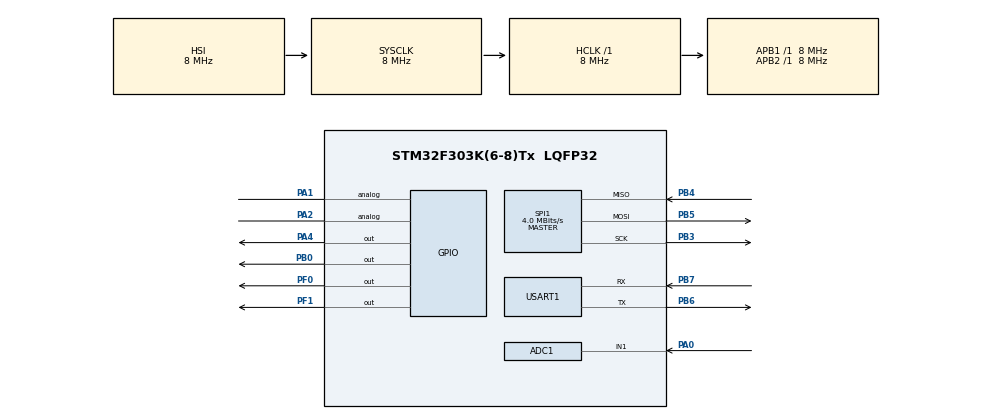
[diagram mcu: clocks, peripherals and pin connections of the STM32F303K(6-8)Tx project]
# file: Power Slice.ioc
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ADC1.Channel-4\#ChannelRegularConversion=ADC_CHANNEL_1
ADC1.Channel-5\#ChannelRegularConversion=ADC_CHANNEL_1
ADC1.EOCSelection=ADC_EOC_SEQ_CONV
ADC1.NbrOfConversion=3
ADC1.NbrOfConversionFlag=1
ADC1.Offset-4\#ChannelRegularConversion=0
ADC1.Offset-5\#ChannelRegularConversion=0
ADC1.OffsetNumber-4\#ChannelRegularConversion=ADC_OFFSET_NONE
ADC1.OffsetNumber-5\#ChannelRegularConversion=ADC_OFFSET_NONE
ADC1.Rank-4\#ChannelRegularConversion=2
ADC1.Rank-5\#ChannelRegularConversion=3
ADC1.SamplingTime-1\#ChannelRegularConversion=ADC_SAMPLETIME_19CYCLES_5
ADC1.SamplingTime-4\#ChannelRegularConversion=ADC_SAMPLETIME_19CYCLES_5
ADC1.SamplingTime-5\#ChannelRegularConversion=ADC_SAMPLETIME_19CYCLES_5
ADC1.SubFamily=STM32F303x8
ADC1.master=1
Dma.ADC1.0.Direction=DMA_PERIPH_TO_MEMORY
Dma.ADC1.0.Instance=DMA1_Channel1
Dma.ADC1.0.MemDataAlignment=DMA_MDATAALIGN_HALFWORD
Dma.ADC1.0.MemInc=DMA_MINC_ENABLE
Dma.ADC1.0.Mode=DMA_NORMAL
Dma.ADC1.0.PeriphDataAlignment=DMA_PDATAALIGN_HALFWORD
Dma.ADC1.0.PeriphInc=DMA_PINC_DISABLE
Dma.ADC1.0.Priority=DMA_PRIORITY_LOW
Dma.Request0=ADC1
Dma.Request1=USART1_RX
Dma.USART1_RX.1.Direction=DMA_PERIPH_TO_MEMORY
Dma.USART1_RX.1.Instance=DMA1_Channel5
Dma.USART1_RX.1.MemDataAlignment=DMA_MDATAALIGN_BYTE
Dma.USART1_RX.1.MemInc=DMA_MINC_ENABLE
Dma.USART1_RX.1.Mode=DMA_NORMAL
Dma.USART1_RX.1.PeriphDataAlignment=DMA_PDATAALIGN_BYTE
Dma.USART1_RX.1.PeriphInc=DMA_PINC_DISABLE
Dma.USART1_RX.1.Priority=DMA_PRIORITY_LOW
Mcu.Family=STM32F3
Mcu.Name=STM32F303K(6-8)Tx
Mcu.Package=LQFP32
NVIC.DMA1_Channel1_IRQn=true\:0\:0\:false\:false\:true\:false\:true\:true
NVIC.DMA1_Channel5_IRQn=true\:0\:0\:false\:false\:true\:false\:true\:true
NVIC.PriorityGroup=NVIC_PRIORITYGROUP_4
NVIC.TIM1_UP_TIM16_IRQn=true\:0\:0\:false\:false\:true\:true\:true\:true
PA0.Signal=SharedAnalog_PA0
PA1.Signal=SharedAnalog_PA1
PA13.GPIO_Label=SWDIO
PA13.Signal=SYS_JTMS-SWDIO
PA14.GPIO_Label=SWCLK
PA14.Signal=SYS_JTCK-SWCLK
PA15.GPIO_Label=VCP_RX
PA15.Signal=USART2_RX
PA2.Signal=SharedAnalog_PA2
PA3.Signal=ADC1_IN4
PA4.Signal=GPIO_Output
PB0.Signal=GPIO_Output
PB3.GPIO_PuPd=GPIO_PULLUP
PB3.Mode=Full_Duplex_Master
PB3.Signal=SPI1_SCK
PB4.GPIO_PuPd=GPIO_PULLUP
PB4.Mode=Full_Duplex_Master
PB4.Signal=SPI1_MISO
PB5.GPIO_PuPd=GPIO_PULLUP
PB5.Mode=Full_Duplex_Master
PB5.Signal=SPI1_MOSI
PB6.Mode=Asynchronous
PB6.Signal=USART1_TX
PB7.Mode=Asynchronous
PB7.Signal=USART1_RX
PF0\ /\ OSC_IN.Signal=GPIO_Output
PF1\ /\ OSC_OUT.Signal=GPIO_Output
ProjectManager.HeapSize=0x200
ProjectManager.StackSize=0x400
ProjectManager.TargetToolchain=STM32CubeIDE
RCC.AHBFreq_Value=8000000
RCC.APB1Freq_Value=8000000
RCC.APB2Freq_Value=8000000
RCC.CortexFreq_Value=8000000
RCC.HSE_VALUE=8000000
RCC.HSI_VALUE=8000000
RCC.PLLMUL=RCC_PLL_MUL4
RCC.SYSCLKFreq_VALUE=8000000
SH.SharedAnalog_PA0.0=GPIO_Analog
SH.SharedAnalog_PA0.1=ADC1_IN1,IN1-Single-Ended
SH.SharedAnalog_PA1.0=GPIO_Analog
SH.SharedAnalog_PA1.1=ADC1_IN2
SH.SharedAnalog_PA2.0=GPIO_Analog
SH.SharedAnalog_PA2.1=ADC1_IN3
SPI1.CalculateBaudRate=4.0 MBits/s
SPI1.DataSize=SPI_DATASIZE_8BIT
SPI1.Direction=SPI_DIRECTION_2LINES
SPI1.FirstBit=SPI_FIRSTBIT_MSB
SPI1.Mode=SPI_MODE_MASTER
SPI1.VirtualType=VM_MASTER
TIM1.Channel-Output\ Compare1\ No\ Output=TIM_CHANNEL_1
TIM1.Period=8000
TIM1.Prescaler=999
USART1.VirtualMode-Asynchronous=VM_ASYNC
VP_TIM1_VS_ClockSourceINT.Mode=Internal
VP_TIM1_VS_no_output1.Mode=Output Compare1 No Output
board=NUCLEO-F303K8

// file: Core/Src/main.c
/* USER CODE BEGIN Header */
/**
  ******************************************************************************
  * @file           : main.c
  * @brief          : Main program body
  ******************************************************************************
  * @attention
  *
  * Copyright (c) 2026 STMicroelectronics.
  * All rights reserved.
  *
  * This software is licensed under terms that can be found in the LICENSE file
  * in the root directory of this software component.
  * If no LICENSE file comes with this software, it is provided AS-IS.
  *
  ******************************************************************************
  */
/* USER CODE END Header */
#include "main.h"

/* USER CODE BEGIN Includes */
#include "stdbool.h"
#include "power.h"
#include "string.h"
#include "stdio.h"
/* USER CODE END Includes */

ADC_HandleTypeDef hadc1;
DMA_HandleTypeDef hdma_adc1;

SPI_HandleTypeDef hspi1;

TIM_HandleTypeDef htim1;

UART_HandleTypeDef huart1;
DMA_HandleTypeDef hdma_usart1_rx;

/* USER CODE BEGIN PV */

#define MY_SLOT_ID 0x04
#define RX_BUFFER_SIZE 1024
char rxBuffer[RX_BUFFER_SIZE];

bool updatePower = false;
bool configureRTC = false;
bool runRTC = true;

uint32_t powerDirect = 0;
uint32_t powerLSQR = 0;

uint32_t outageDuration = 0;
uint8_t isOutage = 0;

uint16_t ADC_Buffer[3];
uint16_t month2cday[12] = {0, 31, 59, 90, 120, 151, 181, 212, 243, 273, 304, 334};

uint8_t config[3] ;
uint8_t TX_Buffer [4] ; // DATA to send

HAL_StatusTypeDef HAL_STATUS;

/* USER CODE END PV */

void SystemClock_Config(void);
static void MX_GPIO_Init(void);
static void MX_DMA_Init(void);
static void MX_ADC1_Init(void);
static void MX_SPI1_Init(void);
static void MX_TIM1_Init(void);
static void MX_USART1_UART_Init(void);

/* USER CODE BEGIN 0 */
void HAL_TIM_PeriodElapsedCallback(TIM_HandleTypeDef *htim){
	updatePower = true;
}

void respondToLoaf(uint8_t isOutage, uint32_t outageDuration, uint32_t powerDirect, uint32_t powerLSQR)
{
    // Team Salt: Implement your loaf response logic here. Called whenever the loaf requests a packet from this slice
    // I am expecting to see a message in the format: ">VARNAME:VALUE>VARNAME2:VALUE...\n"
    // VALUE can be a string or a number, and there can be any number of variable assignments in a single packet

    HAL_GPIO_TogglePin(GPIOB, GPIO_PIN_3); // Toggle onboard LED to indicate response
    HAL_Delay(5);

    char response[128];
    snprintf(response, sizeof(response), ">isOutage:%d>outageDuration:%d>powerDirect:%d>powerLSQR:%d\n", isOutage, outageDuration, powerDirect, powerLSQR);
    HAL_UART_Transmit(&huart1, (uint8_t *)response, strlen(response), HAL_MAX_DELAY);
}

int time_outage(uint8_t* reg)
{
	// Assuming the first two indices of reg are garbage data

	uint32_t pdown_time = 0;
	uint32_t pup_time = 0;

	pdown_time += (reg[2] & (0x0F)) + ((reg[2] & (0x70)) >> 4) * 10;
	pdown_time +=  ((reg[3]  & (0x0F)) + ((reg[3]  & (0x10)) >> 4) * 10) * 60;
	pdown_time += (((reg[4] & (0x0F)) + ((reg[4] & (0x70)) >> 4) * 10)-1) * 24 * 60;
	pdown_time += month2cday[(((reg[5] & (0x0F)) + ((reg[5] & (0x10)) >> 4) * 10))-1] * 24 * 60;

	pup_time += (reg[6] & (0x0F)) + ((reg[6] & (0x70)) >> 4) * 10;
	pup_time +=  ((reg[7]  & (0x0F)) + ((reg[7]  & (0x10)) >> 4) * 10) * 60;
	pup_time += (((reg[8] & (0x0F)) + ((reg[8] & (0x70)) >> 4) * 10)-1) * 24 * 60;
	pup_time += month2cday[(((reg[9] & (0x0F)) + ((reg[9] & (0x10)) >> 4) * 10))-1] * 24 * 60;

	return (pup_time-pdown_time);
}

void parseUARTBuffer(char *buffer, size_t len, uint8_t isOutage, uint32_t outageDuration, uint32_t powerDirect, uint32_t powerLSQR)
{
    char cmd[RX_BUFFER_SIZE];
    size_t cmdIndex = 0;
    bool inCommand = false;

    for (size_t i = 0; i < len; i++)
    {
        char c = buffer[i];

        if (c == 0x99 && i + 1 < len && buffer[i + 1] == MY_SLOT_ID) // If the loaf is requesting a packet from this slice
        {
            respondToLoaf(isOutage, outageDuration, powerDirect, powerLSQR);
            buffer[i] = '\0'; // Clear processed command
            buffer[i + 1] = '\0';
            i++;
        }
        else if (c == '>')
        {
            // If we were already building a command, finalize it
            if (inCommand && cmdIndex > 0)
            {
                cmd[cmdIndex] = '\0';
//                processCommand(cmd);
                cmdIndex = 0;
            }

            // Start a new command
            inCommand = true;
            buffer[i] = '\0'; // Clear processed command
        }
        else if (c == '\n')
        {
            // End of packet — flush any active command
            if (inCommand && cmdIndex > 0)
            {
                cmd[cmdIndex] = '\0';
//                processCommand(cmd);
            }

            // Reset state
            inCommand = false;
            cmdIndex = 0;
            buffer[i] = '\0'; // Clear processed command
        }
        else if (inCommand)
        {
            // Accumulate command characters safely
            if (cmdIndex < (RX_BUFFER_SIZE - 1))
            {
                cmd[cmdIndex++] = c;
                buffer[i] = '\0'; // Clear processed command
            }
            else
            {
                // Overflow protection: discard oversized command
                cmdIndex = 0;
                inCommand = false;
            }
        }
    }
}

void HAL_UART_RxCpltCallback(UART_HandleTypeDef *huart) {
    if (huart->Instance == USART1) {
        // Process the received data in rxBuffer
        // Restart DMA reception
        HAL_UART_Receive_DMA(&huart1, (uint8_t *)rxBuffer, RX_BUFFER_SIZE);
    }
}

/* USER CODE END 0 */

int main(void)
{

  /* MCU Configuration--------------------------------------------------------*/

  /* Reset of all peripherals, Initializes the Flash interface and the Systick. */
  HAL_Init();

  /* Configure the system clock */
  SystemClock_Config();

  /* Initialize all configured peripherals */
  MX_GPIO_Init();
  MX_DMA_Init();
  MX_ADC1_Init();
  MX_SPI1_Init();
  MX_TIM1_Init();
  MX_USART1_UART_Init();
  /* USER CODE BEGIN 2 */

  HAL_UART_Receive_DMA(&huart1, (uint8_t *)rxBuffer, RX_BUFFER_SIZE);
  HAL_ADCEx_Calibration_Start(&hadc1, ADC_SINGLE_ENDED);

  if (runRTC)
  {
  // Read RTC
  uint8_t rx[10];
  uint8_t tx[2] = {RTC_READ, 0x04};

  // Write dummy packet of data (needed to "wake up" the RTC
  config[0] = RTC_EEWRITE;

  do {
	  HAL_GPIO_WritePin(GPIOA, GPIO_PIN_4, RESET);
	  HAL_Delay(100);
	  HAL_SPI_Transmit(&hspi1,config,1,1000);
	  HAL_Delay(100);
	  HAL_GPIO_WritePin(GPIOA, GPIO_PIN_4, SET);
  } while (HAL_STATUS != HAL_OK);

  if (configureRTC)
  {
	  // Configure ST
	  config[0] = RTC_WRITE;
	  config[1] = 0x01;
	  config[2] = 0b10000000;
	  do {
		  HAL_GPIO_WritePin(GPIOA, GPIO_PIN_4, RESET);
		  HAL_Delay(100);
		  HAL_SPI_Transmit(&hspi1,config,3,1000);
		  HAL_Delay(100);
		  HAL_GPIO_WritePin(GPIOA, GPIO_PIN_4, SET);
	  } while (HAL_STATUS != HAL_OK);
  }

  // Determine if an outage occurred since last reset

  	do {
  		HAL_GPIO_WritePin(GPIOA, GPIO_PIN_4, RESET);
  		HAL_Delay(100);
  		HAL_SPI_TransmitReceive(&hspi1,tx,rx,3,1000);
  		HAL_Delay(100);
  		HAL_GPIO_WritePin(GPIOA, GPIO_PIN_4, SET);
  	} while (HAL_STATUS != HAL_OK);

  	isOutage = (rx[2] & 0b00010000);	// Isolate PWR_FAIL pin
  	isOutage = isOutage >> 4;

  	// Time outage
  	tx[1] = 0x18;
  	do {
  		HAL_GPIO_WritePin(GPIOA, GPIO_PIN_4, RESET);
  		HAL_Delay(100);
  		HAL_SPI_TransmitReceive(&hspi1,tx,rx,10,1000);
  		HAL_Delay(100);
  		HAL_GPIO_WritePin(GPIOA, GPIO_PIN_4, SET);
  	} while (HAL_STATUS != HAL_OK);

  	outageDuration = time_outage(rx);

  	// Reset PWRFRAIL Bit
  	config[0] = RTC_WRITE;
  	config[1] = 0x04;
  	config[2] = 0b00001000;
  	do {
  		HAL_GPIO_WritePin(GPIOA, GPIO_PIN_4, RESET);
  		HAL_Delay(100);
  		HAL_SPI_Transmit(&hspi1,config,3,1000);
  		HAL_Delay(100);
  		HAL_GPIO_WritePin(GPIOA, GPIO_PIN_4, SET);
  	} while (HAL_STATUS != HAL_OK);
  }

      HAL_TIM_Base_Start_IT(&htim1);

  /* USER CODE END 2 */

  /* Infinite loop */
  /* USER CODE BEGIN WHILE */
  while (1)
  {

	  if (updatePower)
	  {
		  powerDirect = 0;	// Overestimation based on mV readings from datasheet
		  powerLSQR = 0;	// Estimation based on experimental results and least-squares

		  HAL_ADC_Start_DMA(&hadc1, ADC_Buffer, 3);
		  powerDirect = powerDirect + (ADC_Buffer[0] - 2000) * 11;
		  powerDirect = powerDirect + (ADC_Buffer[1] - 2000) * 11;
		  powerDirect = powerDirect + (ADC_Buffer[2] - 2000) * 16;

		  powerLSQR = powerLSQR + (ADC_Buffer[0] - 2000) * 5;
		  powerLSQR = powerLSQR + (ADC_Buffer[1] - 2000) * 5;
		  powerLSQR = powerLSQR + (ADC_Buffer[2] - 2000) * 8;
		  updatePower = false;
	  }

	  parseUARTBuffer(rxBuffer, RX_BUFFER_SIZE, isOutage, outageDuration, powerDirect, powerLSQR);
	  HAL_Delay(5);

    /* USER CODE END WHILE */

  }
}

void SystemClock_Config(void)
{
  RCC_OscInitTypeDef RCC_OscInitStruct = {0};
  RCC_ClkInitTypeDef RCC_ClkInitStruct = {0};
  RCC_PeriphCLKInitTypeDef PeriphClkInit = {0};

  /** Initializes the RCC Oscillators according to the specified parameters
  * in the RCC_OscInitTypeDef structure.
  */
  RCC_OscInitStruct.OscillatorType = RCC_OSCILLATORTYPE_HSI;
  RCC_OscInitStruct.HSIState = RCC_HSI_ON;
  RCC_OscInitStruct.HSICalibrationValue = RCC_HSICALIBRATION_DEFAULT;
  RCC_OscInitStruct.PLL.PLLState = RCC_PLL_ON;
  RCC_OscInitStruct.PLL.PLLSource = RCC_PLLSOURCE_HSI;
  RCC_OscInitStruct.PLL.PLLMUL = RCC_PLL_MUL4;
  if (HAL_RCC_OscConfig(&RCC_OscInitStruct) != HAL_OK)
  {
    Error_Handler();
  }

  /** Initializes the CPU, AHB and APB buses clocks
  */
  RCC_ClkInitStruct.ClockType = RCC_CLOCKTYPE_HCLK|RCC_CLOCKTYPE_SYSCLK
                              |RCC_CLOCKTYPE_PCLK1|RCC_CLOCKTYPE_PCLK2;
  RCC_ClkInitStruct.SYSCLKSource = RCC_SYSCLKSOURCE_HSI;
  RCC_ClkInitStruct.AHBCLKDivider = RCC_SYSCLK_DIV1;
  RCC_ClkInitStruct.APB1CLKDivider = RCC_HCLK_DIV1;
  RCC_ClkInitStruct.APB2CLKDivider = RCC_HCLK_DIV1;

  if (HAL_RCC_ClockConfig(&RCC_ClkInitStruct, FLASH_LATENCY_0) != HAL_OK)
  {
    Error_Handler();
  }
  PeriphClkInit.PeriphClockSelection = RCC_PERIPHCLK_USART1|RCC_PERIPHCLK_TIM1
                              |RCC_PERIPHCLK_ADC12;
  PeriphClkInit.Usart1ClockSelection = RCC_USART1CLKSOURCE_PCLK1;
  PeriphClkInit.Adc12ClockSelection = RCC_ADC12PLLCLK_DIV1;
  PeriphClkInit.Tim1ClockSelection = RCC_TIM1CLK_HCLK;
  if (HAL_RCCEx_PeriphCLKConfig(&PeriphClkInit) != HAL_OK)
  {
    Error_Handler();
  }
}

static void MX_ADC1_Init(void)
{

  ADC_MultiModeTypeDef multimode = {0};
  ADC_ChannelConfTypeDef sConfig = {0};

  /** Common config
  */
  hadc1.Instance = ADC1;
  hadc1.Init.ClockPrescaler = ADC_CLOCK_ASYNC_DIV1;
  hadc1.Init.Resolution = ADC_RESOLUTION_12B;
  hadc1.Init.ScanConvMode = ADC_SCAN_ENABLE;
  hadc1.Init.ContinuousConvMode = DISABLE;
  hadc1.Init.DiscontinuousConvMode = DISABLE;
  hadc1.Init.ExternalTrigConvEdge = ADC_EXTERNALTRIGCONVEDGE_NONE;
  hadc1.Init.ExternalTrigConv = ADC_SOFTWARE_START;
  hadc1.Init.DataAlign = ADC_DATAALIGN_RIGHT;
  hadc1.Init.NbrOfConversion = 3;
  hadc1.Init.DMAContinuousRequests = DISABLE;
  hadc1.Init.EOCSelection = ADC_EOC_SEQ_CONV;
  hadc1.Init.LowPowerAutoWait = DISABLE;
  hadc1.Init.Overrun = ADC_OVR_DATA_OVERWRITTEN;
  if (HAL_ADC_Init(&hadc1) != HAL_OK)
  {
    Error_Handler();
  }

  /** Configure the ADC multi-mode
  */
  multimode.Mode = ADC_MODE_INDEPENDENT;
  if (HAL_ADCEx_MultiModeConfigChannel(&hadc1, &multimode) != HAL_OK)
  {
    Error_Handler();
  }

  /** Configure Regular Channel
  */
  sConfig.Channel = ADC_CHANNEL_1;
  sConfig.Rank = ADC_REGULAR_RANK_2;
  sConfig.SingleDiff = ADC_SINGLE_ENDED;
  sConfig.SamplingTime = ADC_SAMPLETIME_19CYCLES_5;
  sConfig.OffsetNumber = ADC_OFFSET_NONE;
  sConfig.Offset = 0;
  if (HAL_ADC_ConfigChannel(&hadc1, &sConfig) != HAL_OK)
  {
    Error_Handler();
  }

  /** Configure Regular Channel
  */
  sConfig.Rank = ADC_REGULAR_RANK_3;
  if (HAL_ADC_ConfigChannel(&hadc1, &sConfig) != HAL_OK)
  {
    Error_Handler();
  }

  /** Configure Regular Channel
  */
  sConfig.Rank = ADC_REGULAR_RANK_1;
  if (HAL_ADC_ConfigChannel(&hadc1, &sConfig) != HAL_OK)
  {
    Error_Handler();
  }

}

static void MX_SPI1_Init(void)
{

  /* SPI1 parameter configuration*/
  hspi1.Instance = SPI1;
  hspi1.Init.Mode = SPI_MODE_MASTER;
  hspi1.Init.Direction = SPI_DIRECTION_2LINES;
  hspi1.Init.DataSize = SPI_DATASIZE_8BIT;
  hspi1.Init.CLKPolarity = SPI_POLARITY_LOW;
  hspi1.Init.CLKPhase = SPI_PHASE_1EDGE;
  hspi1.Init.NSS = SPI_NSS_SOFT;
  hspi1.Init.BaudRatePrescaler = SPI_BAUDRATEPRESCALER_2;
  hspi1.Init.FirstBit = SPI_FIRSTBIT_MSB;
  hspi1.Init.TIMode = SPI_TIMODE_DISABLE;
  hspi1.Init.CRCCalculation = SPI_CRCCALCULATION_DISABLE;
  hspi1.Init.CRCPolynomial = 7;
  hspi1.Init.CRCLength = SPI_CRC_LENGTH_DATASIZE;
  hspi1.Init.NSSPMode = SPI_NSS_PULSE_ENABLE;
  if (HAL_SPI_Init(&hspi1) != HAL_OK)
  {
    Error_Handler();
  }

}

static void MX_TIM1_Init(void)
{

  TIM_ClockConfigTypeDef sClockSourceConfig = {0};
  TIM_MasterConfigTypeDef sMasterConfig = {0};
  TIM_OC_InitTypeDef sConfigOC = {0};
  TIM_BreakDeadTimeConfigTypeDef sBreakDeadTimeConfig = {0};

  htim1.Instance = TIM1;
  htim1.Init.Prescaler = 999;
  htim1.Init.CounterMode = TIM_COUNTERMODE_UP;
  htim1.Init.Period = 8000;
  htim1.Init.ClockDivision = TIM_CLOCKDIVISION_DIV1;
  htim1.Init.RepetitionCounter = 0;
  htim1.Init.AutoReloadPreload = TIM_AUTORELOAD_PRELOAD_DISABLE;
  if (HAL_TIM_Base_Init(&htim1) != HAL_OK)
  {
    Error_Handler();
  }
  sClockSourceConfig.ClockSource = TIM_CLOCKSOURCE_INTERNAL;
  if (HAL_TIM_ConfigClockSource(&htim1, &sClockSourceConfig) != HAL_OK)
  {
    Error_Handler();
  }
  if (HAL_TIM_OC_Init(&htim1) != HAL_OK)
  {
    Error_Handler();
  }
  sMasterConfig.MasterOutputTrigger = TIM_TRGO_RESET;
  sMasterConfig.MasterOutputTrigger2 = TIM_TRGO2_RESET;
  sMasterConfig.MasterSlaveMode = TIM_MASTERSLAVEMODE_DISABLE;
  if (HAL_TIMEx_MasterConfigSynchronization(&htim1, &sMasterConfig) != HAL_OK)
  {
    Error_Handler();
  }
  sConfigOC.OCMode = TIM_OCMODE_TIMING;
  sConfigOC.Pulse = 0;
  sConfigOC.OCPolarity = TIM_OCPOLARITY_HIGH;
  sConfigOC.OCNPolarity = TIM_OCNPOLARITY_HIGH;
  sConfigOC.OCFastMode = TIM_OCFAST_DISABLE;
  sConfigOC.OCIdleState = TIM_OCIDLESTATE_RESET;
  sConfigOC.OCNIdleState = TIM_OCNIDLESTATE_RESET;
  if (HAL_TIM_OC_ConfigChannel(&htim1, &sConfigOC, TIM_CHANNEL_1) != HAL_OK)
  {
    Error_Handler();
  }
  sBreakDeadTimeConfig.OffStateRunMode = TIM_OSSR_DISABLE;
  sBreakDeadTimeConfig.OffStateIDLEMode = TIM_OSSI_DISABLE;
  sBreakDeadTimeConfig.LockLevel = TIM_LOCKLEVEL_OFF;
  sBreakDeadTimeConfig.DeadTime = 0;
  sBreakDeadTimeConfig.BreakState = TIM_BREAK_DISABLE;
  sBreakDeadTimeConfig.BreakPolarity = TIM_BREAKPOLARITY_HIGH;
  sBreakDeadTimeConfig.BreakFilter = 0;
  sBreakDeadTimeConfig.Break2State = TIM_BREAK2_DISABLE;
  sBreakDeadTimeConfig.Break2Polarity = TIM_BREAK2POLARITY_HIGH;
  sBreakDeadTimeConfig.Break2Filter = 0;
  sBreakDeadTimeConfig.AutomaticOutput = TIM_AUTOMATICOUTPUT_DISABLE;
  if (HAL_TIMEx_ConfigBreakDeadTime(&htim1, &sBreakDeadTimeConfig) != HAL_OK)
  {
    Error_Handler();
  }

}

static void MX_USART1_UART_Init(void)
{

  huart1.Instance = USART1;
  huart1.Init.BaudRate = 38400;
  huart1.Init.WordLength = UART_WORDLENGTH_8B;
  huart1.Init.StopBits = UART_STOPBITS_1;
  huart1.Init.Parity = UART_PARITY_NONE;
  huart1.Init.Mode = UART_MODE_TX_RX;
  huart1.Init.HwFlowCtl = UART_HWCONTROL_NONE;
  huart1.Init.OverSampling = UART_OVERSAMPLING_16;
  huart1.Init.OneBitSampling = UART_ONE_BIT_SAMPLE_DISABLE;
  huart1.AdvancedInit.AdvFeatureInit = UART_ADVFEATURE_NO_INIT;
  if (HAL_UART_Init(&huart1) != HAL_OK)
  {
    Error_Handler();
  }

}

static void MX_DMA_Init(void)
{

  /* DMA controller clock enable */
  __HAL_RCC_DMA1_CLK_ENABLE();

  /* DMA interrupt init */
  /* DMA1_Channel1_IRQn interrupt configuration */
  HAL_NVIC_SetPriority(DMA1_Channel1_IRQn, 0, 0);
  HAL_NVIC_EnableIRQ(DMA1_Channel1_IRQn);
  /* DMA1_Channel5_IRQn interrupt configuration */
  HAL_NVIC_SetPriority(DMA1_Channel5_IRQn, 0, 0);
  HAL_NVIC_EnableIRQ(DMA1_Channel5_IRQn);

}

static void MX_GPIO_Init(void)
{
  GPIO_InitTypeDef GPIO_InitStruct = {0};

  /* GPIO Ports Clock Enable */
  __HAL_RCC_GPIOF_CLK_ENABLE();
  __HAL_RCC_GPIOA_CLK_ENABLE();
  __HAL_RCC_GPIOB_CLK_ENABLE();

  /*Configure GPIO pin Output Level */
  HAL_GPIO_WritePin(GPIOF, GPIO_PIN_0|GPIO_PIN_1, GPIO_PIN_RESET);

  /*Configure GPIO pin Output Level */
  HAL_GPIO_WritePin(GPIOA, GPIO_PIN_4, GPIO_PIN_RESET);

  /*Configure GPIO pin Output Level */
  HAL_GPIO_WritePin(GPIOB, GPIO_PIN_0, GPIO_PIN_RESET);

  /*Configure GPIO pins : PF0 PF1 */
  GPIO_InitStruct.Pin = GPIO_PIN_0|GPIO_PIN_1;
  GPIO_InitStruct.Mode = GPIO_MODE_OUTPUT_PP;
  GPIO_InitStruct.Pull = GPIO_NOPULL;
  GPIO_InitStruct.Speed = GPIO_SPEED_FREQ_LOW;
  HAL_GPIO_Init(GPIOF, &GPIO_InitStruct);

  /*Configure GPIO pin : PA4 */
  GPIO_InitStruct.Pin = GPIO_PIN_4;
  GPIO_InitStruct.Mode = GPIO_MODE_OUTPUT_PP;
  GPIO_InitStruct.Pull = GPIO_NOPULL;
  GPIO_InitStruct.Speed = GPIO_SPEED_FREQ_LOW;
  HAL_GPIO_Init(GPIOA, &GPIO_InitStruct);

  /*Configure GPIO pin : PB0 */
  GPIO_InitStruct.Pin = GPIO_PIN_0;
  GPIO_InitStruct.Mode = GPIO_MODE_OUTPUT_PP;
  GPIO_InitStruct.Pull = GPIO_NOPULL;
  GPIO_InitStruct.Speed = GPIO_SPEED_FREQ_LOW;
  HAL_GPIO_Init(GPIOB, &GPIO_InitStruct);

  /*Configure GPIO pin : VCP_RX_Pin */
  GPIO_InitStruct.Pin = VCP_RX_Pin;
  GPIO_InitStruct.Mode = GPIO_MODE_AF_PP;
  GPIO_InitStruct.Pull = GPIO_NOPULL;
  GPIO_InitStruct.Speed = GPIO_SPEED_FREQ_HIGH;
  GPIO_InitStruct.Alternate = GPIO_AF7_USART2;
  HAL_GPIO_Init(VCP_RX_GPIO_Port, &GPIO_InitStruct);

}

void Error_Handler(void)
{
  __disable_irq();
  while (1)
  {
  }
}
